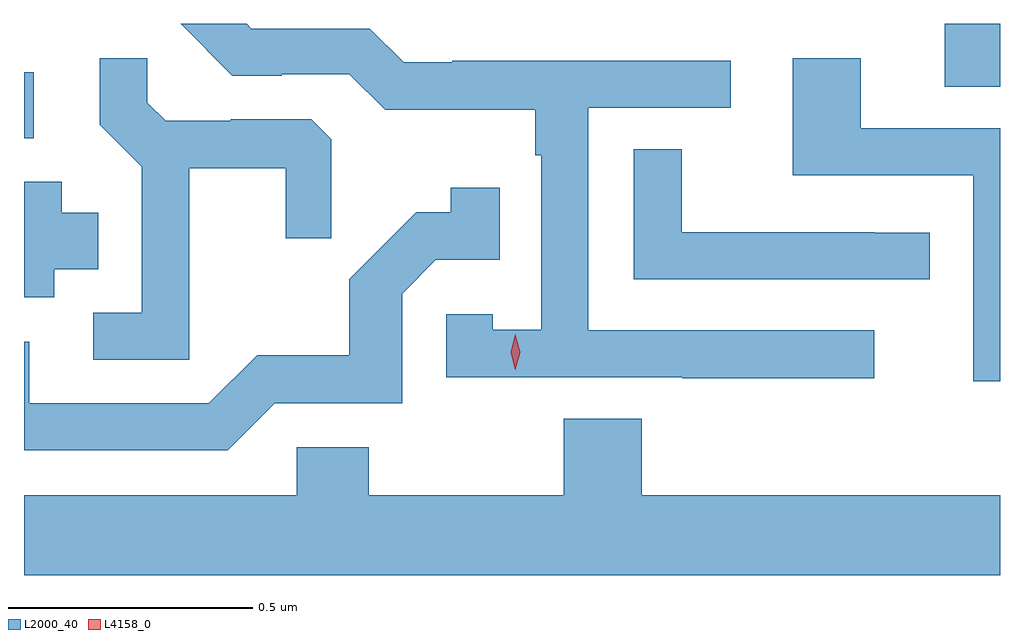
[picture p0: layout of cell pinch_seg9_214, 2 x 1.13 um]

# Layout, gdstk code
import gdstk
lib = gdstk.Library(unit=1e-6, precision=1e-09)
def R(c, l, rs):  # rectangles x0, y0, x1, y1
    for r in rs: c.add(gdstk.rectangle(r[:2], r[2:], *l))
def P(c, l, *ps):  # polygons
    for p in ps: c.add(gdstk.Polygon(p, *l))
L2000_40 = (2000, 40)
L4158_0 = (4158, 0)

pinch_seg9_214 = lib.new_cell('pinch_seg9_214')
R(pinch_seg9_214, L2000_40, [(625.874,1230.615,625.894,1230.751), (627.761,1230.721,627.874,1230.85)])
P(pinch_seg9_214, L2000_40, [(627.616,1230.222),(627.03,1230.222),(627.03,1230.678),(627.322,1230.678),(627.322,1230.774),(626.752,1230.774),(626.752,1230.771),(626.652,1230.771),(626.583,1230.84),(626.34,1230.84),(626.33,1230.85),(626.195,1230.85),(626.301,1230.744),(626.402,1230.744),(626.402,1230.747),(626.541,1230.747),(626.614,1230.674),(626.922,1230.674),(626.922,1230.581),(626.934,1230.581),(626.934,1230.223),(626.835,1230.223),(626.835,1230.255),(626.739,1230.255),(626.739,1230.126),(627.223,1230.126),(627.223,1230.124),(627.616,1230.124)],
  [(626.213,1230.554),(626.41,1230.554),(626.41,1230.411),(626.504,1230.411),(626.504,1230.613),(626.463,1230.654),(626.298,1230.654),(626.298,1230.651),(626.164,1230.651),(626.127,1230.688),(626.127,1230.779),(626.029,1230.779),(626.029,1230.643),(626.115,1230.557),(626.115,1230.258),(626.016,1230.258),(626.016,1230.162),(626.213,1230.162)],
  [(627.874,1230.636),(627.589,1230.636),(627.589,1230.779),(627.449,1230.779),(627.449,1230.54),(627.819,1230.54),(627.819,1230.117),(627.874,1230.117)],
  [(627.73,1230.422),(627.617,1230.422),(627.617,1230.423),(627.222,1230.423),(627.222,1230.593),(627.123,1230.593),(627.123,1230.327),(627.73,1230.327)],
  [(625.936,1230.347),(626.026,1230.347),(626.026,1230.463),(625.951,1230.463),(625.951,1230.526),(625.874,1230.526),(625.874,1230.29),(625.936,1230.29)],
  [(626.388,1230.072),(626.649,1230.072),(626.649,1230.297),(626.718,1230.366),(626.849,1230.366),(626.849,1230.514),(626.748,1230.514),(626.748,1230.464),(626.678,1230.464),(626.541,1230.326),(626.541,1230.171),(626.352,1230.171),(626.253,1230.072),(625.885,1230.072),(625.885,1230.198),(625.874,1230.198),(625.874,1229.976),(626.292,1229.976)],
  [(627.874,1229.884),(627.14,1229.884),(627.14,1230.041),(626.98,1230.041),(626.98,1229.884),(626.58,1229.884),(626.58,1229.982),(626.433,1229.982),(626.433,1229.884),(625.874,1229.884),(625.874,1229.72),(627.874,1229.72)])
P(pinch_seg9_214, L4158_0, [(626.881,1230.141),(626.881,1230.141),(626.871,1230.177),(626.881,1230.213),(626.881,1230.214),(626.881,1230.213),(626.891,1230.177),(626.881,1230.141)])

lib.write_gds('pinch_seg9_214.gds')
